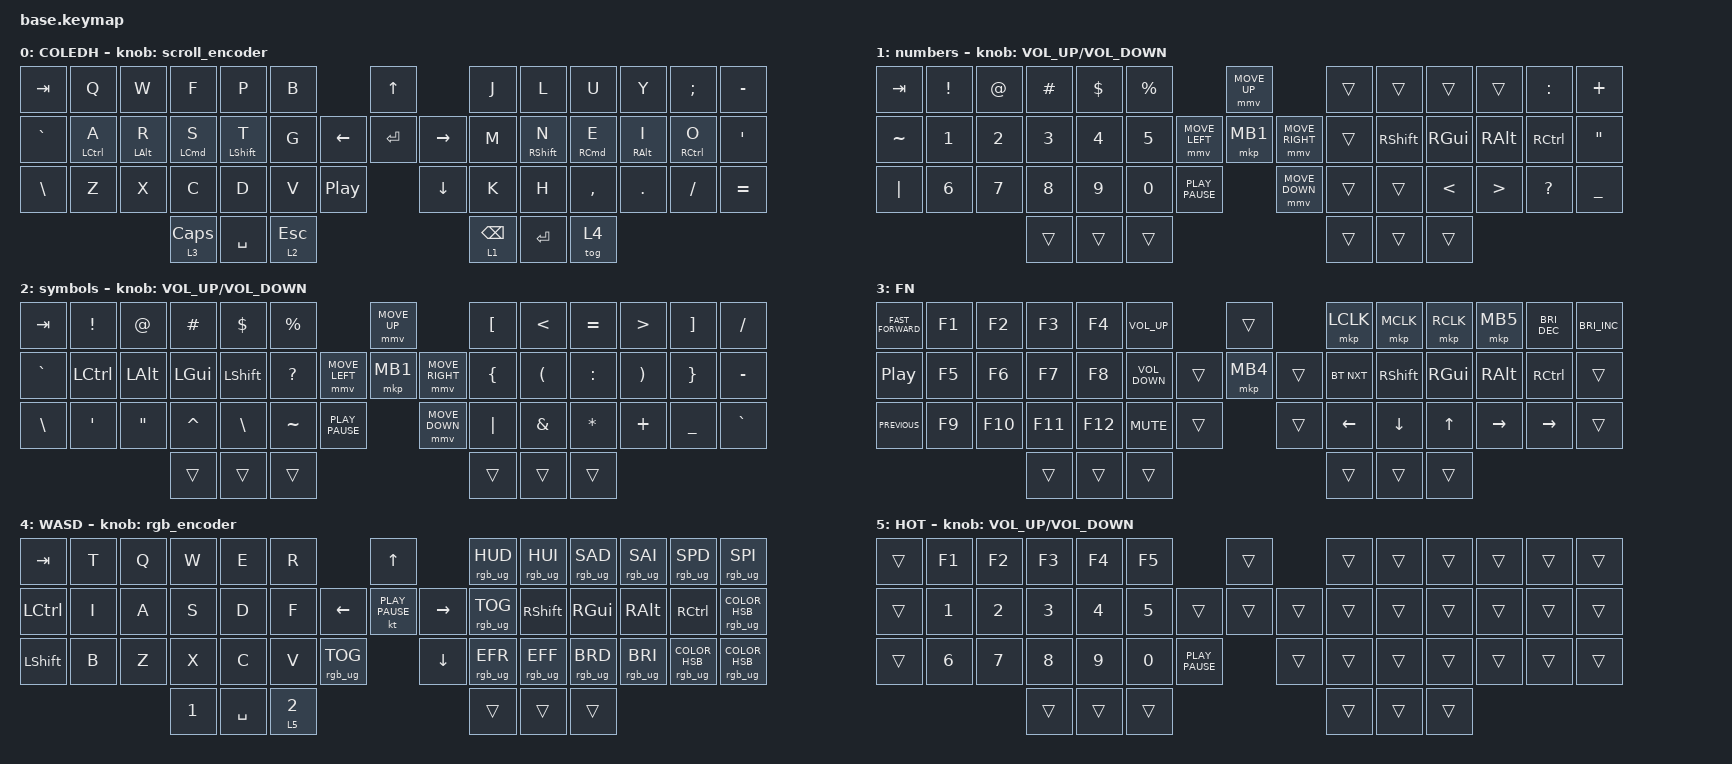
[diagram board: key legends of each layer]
/*
 * Copyright (c) 2020 The ZMK Contributors
 *
 * SPDX-License-Identifier: MIT
 */

// Define layer numbers
#define BASE 0
#define BASE_QWERTY 1
#define NAV_WORD 2
#define NUM_WORD 3
#define SYM_WORD 4
#define NAV 5
#define NUM 6
#define SYM 7
#define FUNC 8
#define ADJUST 9
#define LOWER 10
#define MOUSE_KEYS 11
#define MOUSE_TP 12
#define MOUSE_TP_KEYS 13
#define MOUSE_TP_SET 14

#ifdef HAS_UROB
  #define HAS_TRI_STATE
  #define HAS_NUM_WORD
#endif

// ZMK includes
#include <behaviors.dtsi>
#include <dt-bindings/zmk/keys.h>
#include <dt-bindings/zmk/bt.h>
#include <dt-bindings/zmk/rgb.h>
#include <dt-bindings/zmk/ext_power.h>
#include <input/processors.dtsi>
#include <dt-bindings/zmk/keys.h>
#include <dt-bindings/zmk/pointing.h>
#include <zephyr/dt-bindings/input/input-event-codes.h>

// Personal includes
#include "includes/custom_keycodes.dtsi"
#include "includes/settings.dtsi"
//#include "includes/settings_pd.dtsi"
#include "includes/conditional_layers.dtsi"
#include "includes/macros.dtsi"
#include "includes/combos.dtsi"
#include "includes/behaviours_homerow_mods.dtsi"
#include "includes/behaviours_mod_morph.dtsi"
#include "includes/behaviours_other.dtsi"


#ifdef HAS_MOUSE_TP
  #define U_TOG_TP_SET &tog MOUSE_TP_SET
#else
  #define U_TOG_TP_SET &none
#endif  // HAS_MOUSE_TP

&mmv_input_listener { input-processors = <&zip_xy_scaler 2 1>; };

&msc_input_listener { input-processors = <&zip_scroll_scaler 2 1>; };

&msc {
    acceleration-exponent = <1>;      // 0
    time-to-max-speed-ms = <100>;       // 300
    delay-ms = <0>;                   // 0
};

&mmv {
    time-to-max-speed-ms = <500>;
    acceleration-exponent = <1>;
    trigger-period-ms = <16>;
};

/ {
    behaviors {
        td0: td0 {
            compatible = "zmk,behavior-tap-dance";
            display-name = "Shift/Caps Lock Tap Dance";
            #binding-cells = <0>;
            bindings = <&kp LEFT_SHIFT>, <&kp CAPS>;
        };
    };

    rgb_encoder: rgb_encoder {
        compatible = "zmk,behavior-sensor-rotate";
        #sensor-binding-cells = <0>;
        bindings = <&rgb_ug RGB_BRI>, <&rgb_ug RGB_BRD>;
    };

    scroll_encoder: scroll_encoder {
        compatible = "zmk,behavior-sensor-rotate";
        #sensor-binding-cells = <0>;
        bindings = <&msc SCRL_DOWN>, <&msc SCRL_UP>;

        tap-ms = <100>;
    };

    keymap {
        compatible = "zmk,keymap";

        base_layer {
            bindings = <
&kp TAB        &kp Q               &kp W           &kp F               &kp P             &kp B                                    &kp UP               &kp J            &kp L              &kp U                &kp Y            &kp SEMICOLON        &kp MINUS
&kp GRAVE      &mt LEFT_CONTROL A  &mt LEFT_ALT R  &mt LEFT_COMMAND S  &mt LEFT_SHIFT T  &kp G                          &kp LEFT  &kp RET   &kp RIGHT  &kp M            &mt RIGHT_SHIFT N  &mt RIGHT_COMMAND E  &mt RIGHT_ALT I  &mt RIGHT_CONTROL O  &kp SQT
&kp BACKSLASH  &kp Z               &kp X           &kp C               &kp D             &kp V      &kp C_PLAY_PAUSE              &kp DOWN             &kp K            &kp H              &kp COMMA            &kp PERIOD       &kp SLASH            &kp EQUAL
                                                   &lt 3 CAPS          &kp SPACE         &lt 2 ESC                                                     &lt 1 BACKSPACE  &kp ENTER          &tog 4
            >;

            sensor-bindings = <&scroll_encoder>;
            label = "COLEDH";
        };

        numbers {
            bindings = <
&kp TAB    &kp EXCLAMATION  &kp AT_SIGN  &kp HASH  &kp DOLLAR  &kp PERCENT                                      &mmv MOVE_UP                     &trans  &trans     &trans         &trans            &kp COLON     &kp PLUS
&kp TILDE  &kp N1           &kp N2       &kp N3    &kp N4      &kp N5                           &mmv MOVE_LEFT  &mkp MB1        &mmv MOVE_RIGHT  &trans  &kp RSHFT  &kp RGUI       &kp RALT          &kp RCTRL     &kp DOUBLE_QUOTES
&kp PIPE   &kp N6           &kp N7       &kp N8    &kp N9      &kp N0       &kp K_PLAY_PAUSE                    &mmv MOVE_DOWN                   &trans  &trans     &kp LESS_THAN  &kp GREATER_THAN  &kp QUESTION  &kp UNDER
                                         &trans    &trans      &trans                                                                            &trans  &trans     &trans
            >;

            sensor-bindings = <&inc_dec_kp C_VOLUME_UP C_VOLUME_DOWN>;
        };

        symbols {
            bindings = <
&kp TAB        &kp EXCLAMATION   &kp AT_SIGN        &kp HASH      &kp DOLLAR      &kp PERCENT                                       &mmv MOVE_UP                     &kp LEFT_BRACKET  &kp LESS_THAN         &kp EQUAL     &kp GREATER_THAN       &kp RIGHT_BRACKET  &kp SLASH
&kp GRAVE      &kp LEFT_CONTROL  &kp LEFT_ALT       &kp LEFT_GUI  &kp LEFT_SHIFT  &kp QUESTION                      &mmv MOVE_LEFT  &mkp MB1        &mmv MOVE_RIGHT  &kp LEFT_BRACE    &kp LEFT_PARENTHESIS  &kp COLON     &kp RIGHT_PARENTHESIS  &kp RIGHT_BRACE    &kp MINUS
&kp BACKSLASH  &kp SQT           &kp DOUBLE_QUOTES  &kp CARET     &kp BACKSLASH   &kp TILDE     &kp K_PLAY_PAUSE                    &mmv MOVE_DOWN                   &kp PIPE          &kp AMPERSAND         &kp ASTERISK  &kp PLUS               &kp UNDERSCORE     &kp GRAVE
                                                    &trans        &trans          &trans                                                                             &trans            &trans                &trans
            >;

            sensor-bindings = <&inc_dec_kp C_VOLUME_UP C_VOLUME_DOWN>;
        };

        function_layer {
            bindings = <
&kp C_FAST_FORWARD  &kp F1  &kp F2   &kp F3   &kp F4   &kp C_VOLUME_UP                      &trans            &mkp LCLK   &mkp MCLK  &mkp RCLK  &mkp MB5   &kp C_BRIGHTNESS_DEC  &kp C_BRIGHTNESS_INC
&kp C_PLAY_PAUSE    &kp F5  &kp F6   &kp F7   &kp F8   &kp C_VOLUME_DOWN            &trans  &mkp MB4  &trans  &bt BT_NXT  &kp RSHFT  &kp RGUI   &kp RALT   &kp RCTRL             &trans
&kp C_PREVIOUS      &kp F9  &kp F10  &kp F11  &kp F12  &kp K_MUTE         &trans            &trans            &kp LEFT    &kp DOWN   &kp UP     &kp RIGHT  &kp RIGHT             &trans
                                     &trans   &trans   &trans                                                 &trans      &trans     &trans
            >;

            label = "FN";
        };

        gaming_layer {
            bindings = <
&kp TAB    &kp T  &kp Q  &kp W   &kp E      &kp R                                        &kp UP                       &rgb_ug RGB_HUD  &rgb_ug RGB_HUI  &rgb_ug RGB_SAD  &rgb_ug RGB_SAI  &rgb_ug RGB_SPD                    &rgb_ug RGB_SPI
&kp LCTRL  &kp I  &kp A  &kp S   &kp D      &kp F                              &kp LEFT  &kt K_PLAY_PAUSE  &kp RIGHT  &rgb_ug RGB_TOG  &kp RSHFT        &kp RGUI         &kp RALT         &kp RCTRL                          &rgb_ug RGB_COLOR_HSB(60,99,50)
&kp LSHFT  &kp B  &kp Z  &kp X   &kp C      &kp V           &rgb_ug RGB_TOG              &kp DOWN                     &rgb_ug RGB_EFR  &rgb_ug RGB_EFF  &rgb_ug RGB_BRD  &rgb_ug RGB_BRI  &rgb_ug RGB_COLOR_HSB(302,100,50)  &rgb_ug RGB_COLOR_HSB(181,100,50)
                         &kp N1  &kp SPACE  &lt 5 NUMBER_2                                                            &trans           &trans           &trans
            >;

            label = "WASD";
            sensor-bindings = <&rgb_encoder>;
        };

        hotkey_layer {
            bindings = <
&trans  &kp F1  &kp F2  &kp F3  &kp F4  &kp F5                              &trans          &trans  &trans  &trans  &trans  &trans  &trans
&trans  &kp N1  &kp N2  &kp N3  &kp N4  &kp N5                      &trans  &trans  &trans  &trans  &trans  &trans  &trans  &trans  &trans
&trans  &kp N6  &kp N7  &kp N8  &kp N9  &kp N0  &kp K_PLAY_PAUSE            &trans          &trans  &trans  &trans  &trans  &trans  &trans
                        &trans  &trans  &trans                                              &trans  &trans  &trans
            >;

            label = "HOT";
            sensor-bindings = <&inc_dec_kp C_VOLUME_UP C_VOLUME_DOWN>;
        };
    };
};

